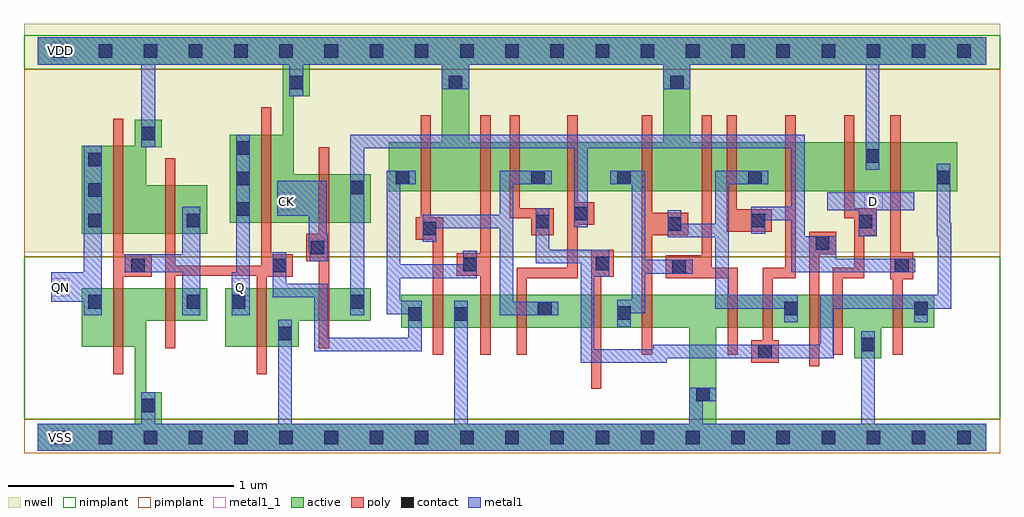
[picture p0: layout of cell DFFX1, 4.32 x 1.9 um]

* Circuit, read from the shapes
.subckt DFFX1 CK D Q QN VDD VSS
M1 VSS n1 QN VSS nfet w=0.26u l=0.045u
M2 n1 n2 VSS VSS nfet w=0.145u l=0.045u
M3 VSS n2 Q VSS nfet w=0.26u l=0.045u
M4 n3 CK VSS VSS nfet w=0.145u l=0.045u
M5 VSS n4 n2 VSS nfet w=0.145u l=0.045u
M6 n5 n2 VSS VSS nfet w=0.145u l=0.045u
M7 n4 n3 n5 VSS nfet w=0.145u l=0.045u
M8 n6 n7 n4 VSS nfet w=0.145u l=0.045u
M9 VSS n8 n6 VSS nfet w=0.145u l=0.045u
M10 n9 n6 VSS VSS nfet w=0.145u l=0.045u
M11 n8 n7 n9 VSS nfet w=0.145u l=0.045u
M12 n10 n3 n8 VSS nfet w=0.145u l=0.045u
M13 VSS D n10 VSS nfet w=0.145u l=0.045u
M14 n7 n3 VSS VSS nfet w=0.145u l=0.045u
M15 VDD n1 QN VDD pfet w=0.39u l=0.045u
M16 n1 n2 VDD VDD pfet w=0.215u l=0.045u
M17 VDD n2 Q VDD pfet w=0.39u l=0.045u
M18 n3 CK VDD VDD pfet w=0.215u l=0.045u
M19 VDD n4 n2 VDD pfet w=0.215u l=0.045u
M20 n11 n2 VDD VDD pfet w=0.215u l=0.045u
M21 n4 n7 n11 VDD pfet w=0.215u l=0.045u
M22 n6 n3 n4 VDD pfet w=0.215u l=0.045u
M23 VDD n8 n6 VDD pfet w=0.215u l=0.045u
M24 n12 n6 VDD VDD pfet w=0.215u l=0.045u
M25 n8 n3 n12 VDD pfet w=0.215u l=0.045u
M26 n13 n7 n8 VDD pfet w=0.215u l=0.045u
M27 VDD D n13 VDD pfet w=0.215u l=0.045u
M28 n7 n3 VDD VDD pfet w=0.215u l=0.045u
.ends

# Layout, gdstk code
import gdstk
lib = gdstk.Library(unit=1e-6, precision=5e-10)
def R(c, l, rs):  # rectangles x0, y0, x1, y1
    for r in rs: c.add(gdstk.rectangle(r[:2], r[2:], *l))
def A(c, l, x, y, w, h, nx, ny, dx, dy):  # array of equal rectangles
    R(c, l, [(x+i*dx, y+j*dy, x+i*dx+w, y+j*dy+h) for i in range(nx) for j in range(ny)])
def P(c, l, *ps):  # polygons
    for p in ps: c.add(gdstk.Polygon(p, *l))
active = (1, 0)
nwell = (2, 0)
poly = (3, 0)
nimplant = (4, 0)
pimplant = (5, 0)
contact = (6, 0)
metal1 = (7, 0)
metal1_1 = (7, 1)

dffx1 = lib.new_cell('DFFX1')
P(dffx1, active, [(0,1.77),(4.2,1.77),(4.2,1.65),(2.89,1.65),(2.89,1.305),(4.07,1.305),(4.07,1.09),(1.555,1.09),(1.555,1.305),(1.79,1.305),(1.79,1.65),(1.91,1.65),(1.91,1.305),(2.77,1.305),(2.77,1.65),(1.205,1.65),(1.205,1.51),(1.135,1.51),(1.135,1.165),(1.475,1.165),(1.475,0.95),(0.85,0.95),(0.85,1.34),(1.085,1.34),(1.085,1.65),(0,1.65)],
  [(0.43,1.405),(0.55,1.405),(0.55,1.285),(0.48,1.285),(0.48,1.115),(0.75,1.115),(0.75,0.9),(0.195,0.9),(0.195,1.29),(0.43,1.29)],
  [(0.195,0.66),(0.75,0.66),(0.75,0.515),(0.48,0.515),(0.48,0.2),(0.55,0.2),(0.55,0.06),(2.885,0.06),(2.885,0.485),(1.61,0.485),(1.61,0.63),(3.97,0.63),(3.97,0.485),(3.735,0.485),(3.735,0.35),(3.615,0.35),(3.615,0.485),(3.005,0.485),(3.005,0.06),(4.2,0.06),(4.2,-0.06),(0,-0.06),(0,0.06),(0.43,0.06),(0.43,0.4),(0.195,0.4)],
  [(0.83,0.66),(1.475,0.66),(1.475,0.515),(1.155,0.515),(1.155,0.4),(0.83,0.4)])
R(dffx1, nwell, [(-0.06,0.82,4.26,1.83)])
P(dffx1, poly, [(0.335,1.41),(0.38,1.41),(0.38,0.81),(0.505,0.81),(0.505,0.71),(0.38,0.71),(0.38,0.28),(0.335,0.28)],
  [(0.565,1.235),(0.61,1.235),(0.61,0.76),(0.99,0.76),(0.99,1.46),(1.035,1.46),(1.035,0.81),(1.13,0.81),(1.13,0.71),(1.015,0.71),(1.015,0.28),(0.97,0.28),(0.97,0.715),(0.61,0.715),(0.61,0.395),(0.565,0.395)],
  [(1.695,1.425),(1.74,1.425),(1.74,0.975),(1.795,0.975),(1.795,0.365),(1.75,0.365),(1.75,0.875),(1.675,0.875),(1.675,0.975),(1.695,0.975)],
  [(1.96,1.425),(2.005,1.425),(2.005,0.365),(1.96,0.365),(1.96,0.715),(1.855,0.715),(1.855,0.815),(1.96,0.815)],
  [(2.09,1.425),(2.135,1.425),(2.135,1.015),(2.285,1.015),(2.285,0.895),(2.185,0.895),(2.185,0.97),(2.09,0.97)],
  [(2.345,1.425),(2.39,1.425),(2.39,1.04),(2.465,1.04),(2.465,0.94),(2.39,0.94),(2.39,0.705),(2.165,0.705),(2.165,0.365),(2.12,0.365),(2.12,0.75),(2.345,0.75)],
  [(2.675,1.425),(2.72,1.425),(2.72,0.995),(2.88,0.995),(2.88,0.895),(2.72,0.895),(2.72,0.365),(2.675,0.365)],
  [(2.94,1.425),(2.985,1.425),(2.985,0.75),(3.1,0.75),(3.1,0.365),(3.055,0.365),(3.055,0.705),(2.78,0.705),(2.78,0.805),(2.94,0.805)],
  [(3.05,1.425),(3.095,1.425),(3.095,1.01),(3.25,1.01),(3.25,0.91),(3.05,0.91)],
  [(3.31,1.425),(3.355,1.425),(3.355,0.705),(3.255,0.705),(3.255,0.43),(3.28,0.43),(3.28,0.33),(3.16,0.33),(3.16,0.43),(3.21,0.43),(3.21,0.75),(3.31,0.75)],
  [(3.57,1.425),(3.615,1.425),(3.615,1.015),(3.715,1.015),(3.715,0.895),(3.66,0.895),(3.66,0.705),(3.565,0.705),(3.565,0.365),(3.52,0.365),(3.52,0.75),(3.615,0.75),(3.615,0.97),(3.57,0.97)],
  [(3.775,1.425),(3.82,1.425),(3.82,0.82),(3.875,0.82),(3.875,0.7),(3.83,0.7),(3.83,0.365),(3.785,0.365),(3.785,0.7),(3.775,0.7)],
  [(1.245,1.285),(1.29,1.285),(1.29,0.395),(1.245,0.395),(1.245,0.78),(1.19,0.78),(1.19,0.9),(1.245,0.9)],
  [(2.45,0.83),(2.55,0.83),(2.55,0.71),(2.495,0.71),(2.495,0.215),(2.45,0.215)],
  [(3.415,0.91),(3.535,0.91),(3.535,0.81),(3.46,0.81),(3.46,0.315),(3.415,0.315)])
R(dffx1, nimplant, [(-0.06,0.08,4.26,0.8), (-0.06,1.63,4.26,1.78)])
R(dffx1, pimplant, [(-0.06,-0.07,4.26,0.08), (-0.06,0.8,4.26,1.63)])
A(dffx1, contact, 0.07, -0.03, 0.06, 0.06, 21, 2, 0.2, 1.71)
A(dffx1, contact, 0.225, 0.93, 0.06, 0.06, 1, 3, 0, 0.135)
A(dffx1, contact, 0.88, 0.98, 0.06, 0.06, 1, 3, 0, 0.135)
R(dffx1, contact, [(0.46,0.11,0.52,0.17), (2.915,0.16,2.975,0.22), (3.19,0.35,3.25,0.41), (3.645,0.38,3.705,0.44), (1.065,0.43,1.125,0.49), (1.64,0.515,1.7,0.575), (1.845,0.515,1.905,0.575), (2.565,0.52,2.625,0.58), (2.215,0.54,2.275,0.6), (3.305,0.54,3.365,0.6), (3.88,0.54,3.94,0.6), (0.225,0.57,0.285,0.63), (0.66,0.57,0.72,0.63), (0.86,0.57,0.92,0.63), (1.385,0.57,1.445,0.63), (2.81,0.725,2.87,0.785), (0.415,0.73,0.475,0.79), (1.04,0.73,1.1,0.79), (3.795,0.73,3.855,0.79), (1.885,0.735,1.945,0.795), (2.47,0.74,2.53,0.8), (1.21,0.81,1.27,0.87), (3.445,0.83,3.505,0.89), (1.705,0.895,1.765,0.955), (2.79,0.915,2.85,0.975), (2.205,0.925,2.265,0.985), (3.635,0.925,3.695,0.985), (0.66,0.93,0.72,0.99), (3.16,0.93,3.22,0.99), (2.375,0.96,2.435,1.02), (1.385,1.075,1.445,1.135), (1.585,1.12,1.645,1.18), (2.185,1.12,2.245,1.18), (2.565,1.12,2.625,1.18), (3.145,1.12,3.205,1.18), (3.98,1.12,4.04,1.18), (3.665,1.215,3.725,1.275), (0.46,1.315,0.52,1.375), (1.115,1.54,1.175,1.6), (1.82,1.54,1.88,1.6), (2.8,1.54,2.86,1.6)])
P(dffx1, metal1, [(0,1.77),(4.2,1.77),(4.2,1.65),(3.725,1.65),(3.725,1.185),(3.665,1.185),(3.665,1.65),(2.89,1.65),(2.89,1.54),(2.77,1.54),(2.77,1.65),(1.91,1.65),(1.91,1.54),(1.79,1.54),(1.79,1.65),(1.175,1.65),(1.175,1.51),(1.115,1.51),(1.115,1.65),(0.52,1.65),(0.52,1.285),(0.46,1.285),(0.46,1.65),(0,1.65)],
  [(0.205,1.29),(0.285,1.29),(0.285,0.54),(0.205,0.54),(0.205,0.6),(0.06,0.6),(0.06,0.73),(0.205,0.73)],
  [(0.88,1.34),(0.94,1.34),(0.94,0.54),(0.86,0.54),(0.86,0.73),(0.88,0.73)],
  [(0.64,1.02),(0.72,1.02),(0.72,0.54),(0.64,0.54),(0.64,0.73),(0.385,0.73),(0.385,0.81),(0.64,0.81)],
  [(1.385,1.34),(3.395,1.34),(3.395,0.89),(3.535,0.89),(3.535,0.79),(3.885,0.79),(3.885,0.73),(3.335,0.73),(3.335,0.96),(3.22,0.96),(3.22,0.9),(3.16,0.9),(3.16,1.02),(3.335,1.02),(3.335,1.28),(2.435,1.28),(2.435,0.93),(2.375,0.93),(2.375,1.28),(1.445,1.28),(1.445,0.54),(1.385,0.54)],
  [(1.06,1.135),(1.28,1.135),(1.28,0.9),(1.285,0.9),(1.285,0.78),(1.205,0.78),(1.205,0.82),(1.2,0.82),(1.2,0.98),(1.06,0.98)],
  [(1.545,1.18),(1.675,1.18),(1.675,1.12),(1.605,1.12),(1.605,0.765),(1.885,0.765),(1.885,0.825),(1.945,0.825),(1.945,0.705),(1.605,0.705),(1.605,0.605),(1.7,0.605),(1.7,0.38),(1.225,0.38),(1.225,0.62),(1.04,0.62),(1.04,0.82),(1.1,0.82),(1.1,0.68),(1.285,0.68),(1.285,0.44),(1.64,0.44),(1.64,0.545),(1.545,0.545)],
  [(2.045,1.18),(2.275,1.18),(2.275,1.12),(2.105,1.12),(2.105,0.6),(2.305,0.6),(2.305,0.54),(2.045,0.54),(2.045,0.925),(1.765,0.925),(1.765,0.865),(1.705,0.865),(1.705,0.985),(2.045,0.985)],
  [(0.46,0.2),(0.52,0.2),(0.52,0.06),(1.065,0.06),(1.065,0.52),(1.125,0.52),(1.125,0.06),(1.845,0.06),(1.845,0.605),(1.905,0.605),(1.905,0.06),(2.885,0.06),(2.885,0.22),(3.005,0.22),(3.005,0.16),(2.945,0.16),(2.945,0.06),(3.645,0.06),(3.645,0.47),(3.705,0.47),(3.705,0.06),(4.2,0.06),(4.2,-0.06),(0,-0.06),(0,0.06),(0.46,0.06)],
  [(2.535,1.18),(2.69,1.18),(2.69,0.785),(2.9,0.785),(2.9,0.725),(2.69,0.725),(2.69,0.55),(2.625,0.55),(2.625,0.49),(2.565,0.49),(2.565,0.61),(2.63,0.61),(2.63,1.12),(2.535,1.12)],
  [(3,1.18),(3.235,1.18),(3.235,1.12),(3.06,1.12),(3.06,0.63),(3.365,0.63),(3.365,0.51),(3.305,0.51),(3.305,0.57),(3,0.57),(3,0.885),(2.79,0.885),(2.79,1.005),(2.85,1.005),(2.85,0.945),(3,0.945)],
  [(2.205,1.015),(2.265,1.015),(2.265,0.83),(2.53,0.83),(2.53,0.71),(2.465,0.71),(2.465,0.39),(2.725,0.39),(2.725,0.41),(3.465,0.41),(3.465,0.63),(3.985,0.63),(3.985,0.89),(3.98,0.89),(3.98,1.21),(4.04,1.21),(4.04,0.95),(4.045,0.95),(4.045,0.57),(3.94,0.57),(3.94,0.51),(3.88,0.51),(3.88,0.57),(3.525,0.57),(3.525,0.35),(2.785,0.35),(2.785,0.33),(2.405,0.33),(2.405,0.77),(2.205,0.77)],
  [(3.495,1.085),(3.88,1.085),(3.88,1.005),(3.715,1.005),(3.715,0.89),(3.635,0.89),(3.635,1.005),(3.495,1.005)])
R(dffx1, metal1_1, [(0.06,-0.04,0.14,0.04), (0.06,0.625,0.14,0.705), (0.86,0.625,0.94,0.705), (1.06,1.005,1.14,1.085), (3.66,1.005,3.74,1.085), (0.06,1.67,0.14,1.75)])
dffx1.add(gdstk.Label('Q', (0.9,0.665), layer=7, texttype=1))
dffx1.add(gdstk.Label('QN', (0.1,0.665), layer=7, texttype=1))
dffx1.add(gdstk.Label('D', (3.7,1.045), layer=7, texttype=1))
dffx1.add(gdstk.Label('CK', (1.1,1.045), layer=7, texttype=1))
dffx1.add(gdstk.Label('VDD', (0.1,1.71), layer=7, texttype=1))
dffx1.add(gdstk.Label('VSS', (0.1,0), layer=7, texttype=1))
dffx1.add(gdstk.Label('DFFX1', (0,0), layer=63, texttype=0))

lib.write_gds('DFFX1.gds')
